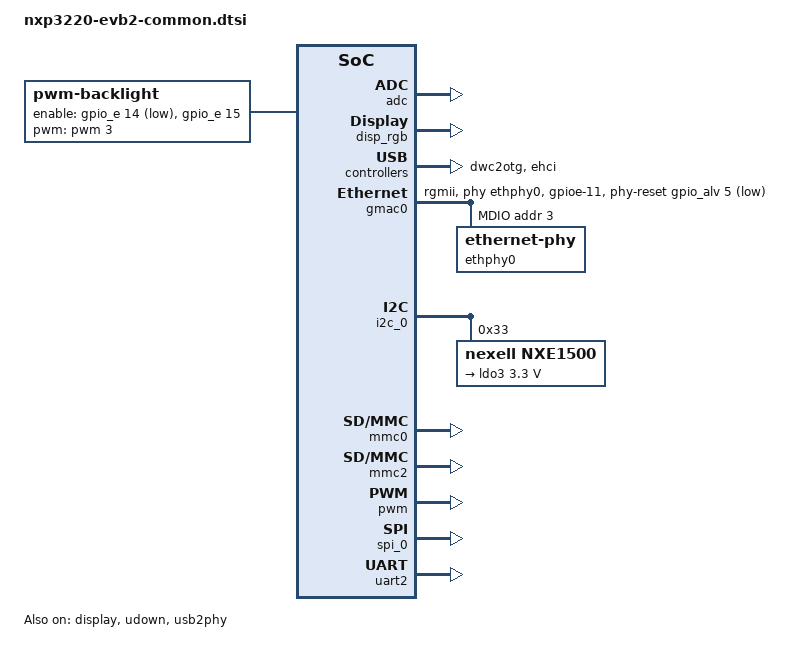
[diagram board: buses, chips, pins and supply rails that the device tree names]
/*
 * (C) Copyright 2018 Nexell
 * JungHyun, Kim <jhkim@nexell.co.kr>
 *
 * SPDX-License-Identifier:      GPL-2.0+
 */

#include "nxp3220.dtsi"
#include <dt-bindings/gpio/gpio.h>

/ {
	compatible = "nexell,nxp3220";

	aliases {
		serial2 = &uart2;
		i2c0    = &i2c_0;
		spi0	= &spi_0;
		mmc0	= &mmc0;
		mmc1	= &mmc1;
		mmc2	= &mmc2;
	};

	chosen {
		stdout-path = "serial2:115200n8";
		tick-timer = &timer0;
	};

	clock_sys: clock-sys@27010000 {
		clk-init-frequency = <UART_2_CORE_CLK 100000000 1>,
				     <UART_2_APB_CLK 100000000 1>,
				     <TIMER_0_APB_CLK 100000000 1>,
				     <TIMER_0_TCLK0_CLK 100000000 1>,
				     <TIMER_0_TCLK1_CLK 100000000 1>,
				     <PWM_0_TCLK0_CLK 100000000 1>,
				     <PWM_0_TCLK1_CLK 100000000 1>,
				     <PWM_0_TCLK2_CLK 100000000 1>,
				     <PWM_0_TCLK3_CLK 100000000 1>,
				     <I2C_0_APB_CLK 100000000 1>,
				     <SPI_0_APB_CLK 100000000 1>,
				     <GMAC_RGMII_0_AXI_CLK 250000000 1>,
				     <GMAC_RGMII_0_APB_CLK 125000000 1>,
				     <GMAC_RGMII_0_TX_CLK_CLK 125000000 1>,
				     <GMAC_RGMII_0_PTP_REF_CLK 25000000 1>,
				     <GMAC_RMII_0_AXI_CLK 250000000 1>,
				     <GMAC_RMII_0_APB_CLK 125000000 1>,
				     <GMAC_RMII_0_PTP_REF_CLK 25000000 1>;
	};

	clock_mm: clock-mm@25000000 {
		clk-init-frequency = <MM_0_AXI_CLK 300000000 1>,
				<MM_0_APB_CLK 160000000 1>,
				<DPC_0_AXI_CLK 300000000 0>;
        };

	clock_usb: clock-usb@24000000 {
	        clk-init-frequency = <USB_0_AHB_CLK 250000000 1>;
	};

	backlight: backlight {
		compatible = "pwm-backlight";
		pwms = <&pwm 3 25000 0>; /* 40khz=1000000000/25000(period ns) */
		brightness-levels = <0 10 20 30 40 50 60 70 80 90 100>;
		default-brightness-level = <4>;
		enable-gpios = 	<&gpio_e 14 GPIO_ACTIVE_LOW>,
				<&gpio_e 15 GPIO_ACTIVE_HIGH>;

	};
};

&adc {
	status = "okay";
};

&display {
	status = "okay";
	display-timings {
		timings0: timings0 {
			clock-frequency = <88565760>;
			hactive = <1920>;
			hfront-porch = <30>;
			hback-porch = <30>;
			hsync-len = <4>;
			vactive = <720>;
			vfront-porch = <10>;
			vback-porch = <10>;
			vsync-len = <2>;
			hsync-active = <1>;
			vsync-active = <1>;
			de-active = <1>;
		};
        };

        display-config {
                out-format = <DP_OUT_FORMAT_RGB888>;
        };

        display-overlays {
                rgb_0 {
                        primary; /* this layer is framebuffer */
                        width = <1920>;
                        height = <720>;
                        bit-per-pixel = <32>;
			format = <DP_MLC_FORMAT_A8R8G8B8>;
                };
        };
};

&disp_rgb {
	status = "okay";
};

&dwc2otg {
	status = "okay";
};

&ehci {
	status = "okay";
};

&gmac0 {
	phy-mode = "rgmii";
	phy-handle = <&ethphy0>;
	status = "okay";

	phy-reset-gpios = <&gpio_alv 5 GPIO_ACTIVE_LOW>;
	pinctrl-0 = <&gmac0_txd>, <&gmac0_rxd>, <&gmac0_txen>,
		    <&gmac0_rxen>, <&gmac0_mdc>, <&gmac0_mdio>,
		    <&gmac0_rxclk>, <&gmac0_txclk>, <&gmac0_nrst>;

	mdio@3 {
		#address-cells = <1>;
		#size-cells = <0>;

		ethphy0: ethernet-phy@3 {
			reg = <3>;
		};
	};
};

&i2c_0 {
	status = "okay";
	u-boot,dm-pre-reloc;
	#address-cells = <1>;
	#size-cells = <0>;

	nxe1500: nxe1500@33 {
		compatible = "nexell,nxe1500";
		reg = <0x33>;
		voltage-regulators {
			ldo3: LDO3 { /* usb host power */
				regulator-min-microvolt = <3300000>;
				regulator-max-microvolt = <3300000>;
				regulator-name = "ldo4";
			};
		}; /* voltage-regulators */
	};
};

&mmc0 {
	nexell,sample_shift = <0x04>;
	nexell,drive_shift = <0x04>;
	frequency = <400000000>;
	cap-mmc-highspeed;
	mmc-ddr-3_3v;
	status = "okay";
};

&mmc2 {
	nexell,sample_shift = <0x04>;
	nexell,drive_shift = <0x05>;
	frequency = <400000000>;
	cap-sd-highspeed;
	status = "okay";
};

&pinctrl {
	gmac0_nrst: gmac-nrst {
		nexell,pins = "gpioe-11";
		nexell,pin-function = <NX_PIN_FUNC0>;
		nexell,pin-pull = <NX_PIN_PULL_UP>;
	};
};

&pwm {
	status = "okay";
	pinctrl-names = "default";
	pinctrl-0 = <&pwm3_pin>;
};

&spi_0 {
	status = "okay";
	spi-max-frequency = <10000000>;
	num-cs = <1>;
	cs-gpio = <&gpio_c 4 0>;
};

&uart2 {
	clock-frequency = <100000000>;
	status = "okay";
};

&udown {
	status = "okay";
};

&usb2phy {
	status = "okay";
	phy-supply = <&ldo3>;
};
